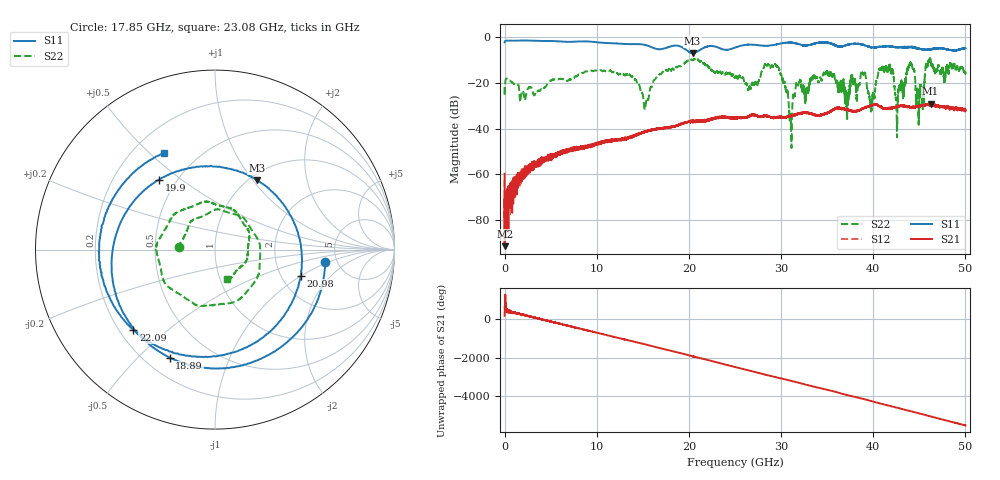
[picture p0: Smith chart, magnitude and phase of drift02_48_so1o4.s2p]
!Created with skrf (http://scikit-rf.org).
# Hz S RI R 50.0
!freq ReS11 ImS11 ReS21 ImS21 ReS12 ImS12 ReS22 ImS22
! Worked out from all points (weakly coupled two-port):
!   10001 points, 300 kHz to 50 GHz, reference 50 ohm
!   highest |S21| = -29.12 dB at 46.23 GHz (marker M1); lowest = -91.6 dB at 5.3 MHz (marker M2)
!   lowest |S11| = -6.9 dB at 20.4 GHz (marker M3), VSWR 2.65, Z = 53.9 + j52.4 ohm
!   |S11| at or under -10 dB: nowhere
!   |S22| runs from -48.5 to -9.0 dB; largest |S21 - S12| = 0.0034
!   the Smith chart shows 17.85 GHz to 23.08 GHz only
!   S11 on the Smith chart (normalised r, x): 17.85 GHz: 4.03, -0.86; 18.89 GHz: 0.30, -0.62; 19.9 GHz: 0.40, +0.42; 20.98 GHz: 2.55, -1.00; 22.09 GHz: 0.26, -0.39; 23.08 GHz: 0.32, +0.55
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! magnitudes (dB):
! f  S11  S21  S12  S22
! 300 kHz  -2.1  -59.8  -62.5  -21.8
! 5.3 MHz  -2.1  -91.6  -72.2  -25.7
! 8.335 GHz  -1.7  -48.6  -47.8  -15.7
! 15.32 GHz  -3.4  -41.3  -41.4  -29.0
! 16.67 GHz  -5.2  -40.1  -40.0  -17.0
! 17.85 GHz  -4.2  -39.5  -39.4  -13.9
! 18.89 GHz  -3.7  -38.3  -38.5  -12.5
! 19.9 GHz  -6.0  -37.1  -37.0  -10.2
! 20.4 GHz  -6.9  -36.9  -36.6  -10.0
! 20.98 GHz  -6.0  -36.5  -36.7  -9.7
! 22.09 GHz  -3.9  -36.5  -36.3  -12.8
! 23.08 GHz  -4.3  -35.1  -35.3  -15.0
! 25 GHz  -4.5  -35.2  -35.2  -17.5
! 29.52 GHz  -3.1  -34.8  -35.3  -12.7
! 31.03 GHz  -2.3  -34.5  -34.8  -35.9
! 33.34 GHz  -3.0  -33.5  -33.5  -18.1
! 39.86 GHz  -4.4  -29.8  -29.9  -28.9
! 41.67 GHz  -3.9  -31.0  -31.2  -13.3
! 44.18 GHz  -4.1  -30.7  -30.7  -12.1
! 44.85 GHz  -4.8  -30.3  -30.3  -25.2
! 46.23 GHz  -5.2  -29.1  -29.3  -10.5
! 50 GHz  -4.7  -32.0  -32.3  -15.7
